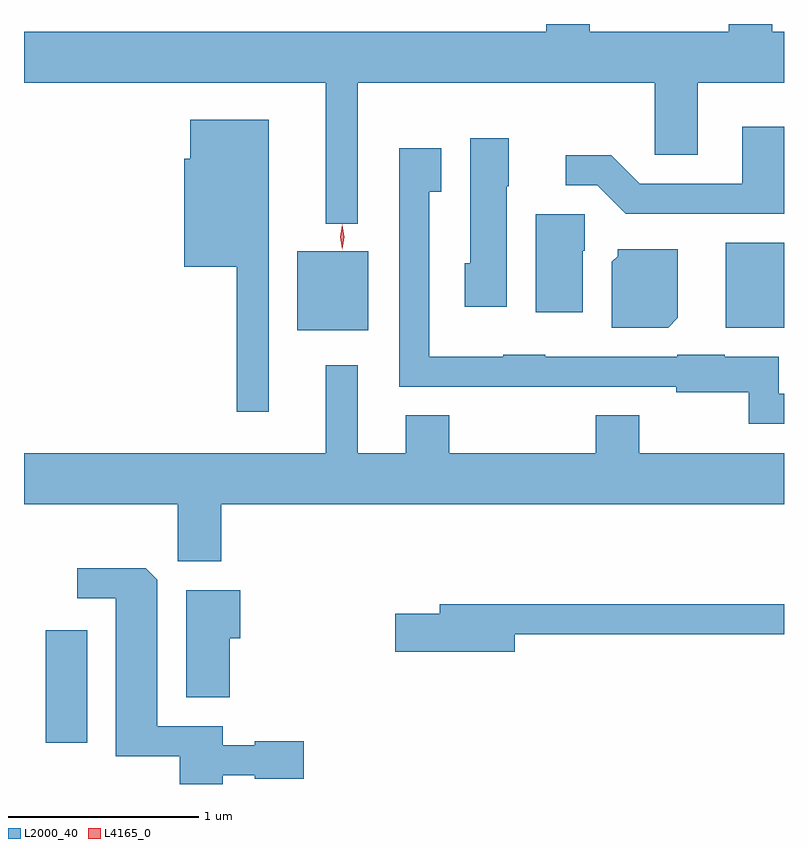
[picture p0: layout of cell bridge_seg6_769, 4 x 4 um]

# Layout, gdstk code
import gdstk
lib = gdstk.Library(unit=1e-6, precision=1e-09)
def R(c, l, rs):  # rectangles x0, y0, x1, y1
    for r in rs: c.add(gdstk.rectangle(r[:2], r[2:], *l))
def P(c, l, *ps):  # polygons
    for p in ps: c.add(gdstk.Polygon(p, *l))
L2000_40 = (2000, 40)
L4165_0 = (4165, 0)

bridge_seg6_769 = lib.new_cell('bridge_seg6_769')
R(bridge_seg6_769, L2000_40, [(440.976,1533.241,441.194,1533.834), (442.301,1535.411,442.674,1535.829), (444.556,1535.426,444.862,1535.874)])
P(bridge_seg6_769, L2000_40, [(444.862,1536.984),(444.799,1536.984),(444.799,1537.024),(444.571,1537.024),(444.571,1536.984),(443.839,1536.984),(443.839,1537.024),(443.611,1537.024),(443.611,1536.984),(440.862,1536.984),(440.862,1536.716),(442.451,1536.716),(442.451,1535.973),(442.619,1535.973),(442.619,1536.716),(444.181,1536.716),(444.181,1536.336),(444.409,1536.336),(444.409,1536.716),(444.862,1536.716)],
  [(442.149,1536.519),(441.736,1536.519),(441.736,1536.314),(441.706,1536.314),(441.706,1535.746),(441.981,1535.746),(441.981,1534.983),(442.149,1534.983)],
  [(444.862,1536.484),(444.641,1536.484),(444.641,1536.184),(444.102,1536.184),(443.952,1536.334),(443.713,1536.334),(443.713,1536.176),(443.879,1536.176),(444.029,1536.026),(444.862,1536.026)],
  [(443.404,1536.17),(443.414,1536.17),(443.414,1536.424),(443.211,1536.424),(443.211,1535.764),(443.181,1535.764),(443.181,1535.536),(443.404,1535.536)],
  [(444.862,1535.079),(444.834,1535.079),(444.834,1535.274),(444.55,1535.274),(444.55,1535.284),(444.3,1535.284),(444.3,1535.274),(443.605,1535.274),(443.605,1535.284),(443.385,1535.284),(443.385,1535.274),(442.994,1535.274),(442.994,1536.141),(443.059,1536.141),(443.059,1536.369),(442.836,1536.369),(442.836,1535.116),(444.296,1535.116),(444.296,1535.086),(444.676,1535.086),(444.676,1534.921),(444.862,1534.921)],
  [(443.804,1535.83),(443.814,1535.83),(443.814,1536.024),(443.556,1536.024),(443.556,1535.506),(443.804,1535.506)],
  [(444.304,1535.477),(444.304,1535.839),(443.986,1535.839),(443.986,1535.802),(443.956,1535.772),(443.956,1535.426),(444.254,1535.426)],
  [(444.862,1534.764),(444.099,1534.764),(444.099,1534.964),(443.871,1534.964),(443.871,1534.764),(443.099,1534.764),(443.099,1534.964),(442.871,1534.964),(442.871,1534.764),(442.619,1534.764),(442.619,1535.228),(442.451,1535.228),(442.451,1534.764),(440.862,1534.764),(440.862,1534.496),(441.671,1534.496),(441.671,1534.196),(441.899,1534.196),(441.899,1534.496),(444.862,1534.496)],
  [(441.909,1533.071),(442.076,1533.071),(442.076,1533.051),(442.334,1533.051),(442.334,1533.249),(442.076,1533.249),(442.076,1533.229),(441.909,1533.229),(441.909,1533.329),(441.564,1533.329),(441.564,1534.099),(441.504,1534.159),(441.143,1534.159),(441.143,1534.001),(441.346,1534.001),(441.346,1533.171),(441.681,1533.171),(441.681,1533.024),(441.909,1533.024)],
  [(441.944,1533.791),(441.999,1533.791),(441.999,1534.044),(441.716,1534.044),(441.716,1533.481),(441.944,1533.481)],
  [(443.444,1533.811),(444.862,1533.811),(444.862,1533.969),(443.051,1533.969),(443.051,1533.919),(442.816,1533.919),(442.816,1533.721),(443.444,1533.721)])
P(bridge_seg6_769, L4165_0, [(442.537,1535.838),(442.537,1535.838),(442.527,1535.903),(442.537,1535.967),(442.537,1535.967),(442.538,1535.967),(442.547,1535.903),(442.538,1535.838)])

lib.write_gds('bridge_seg6_769.gds')
